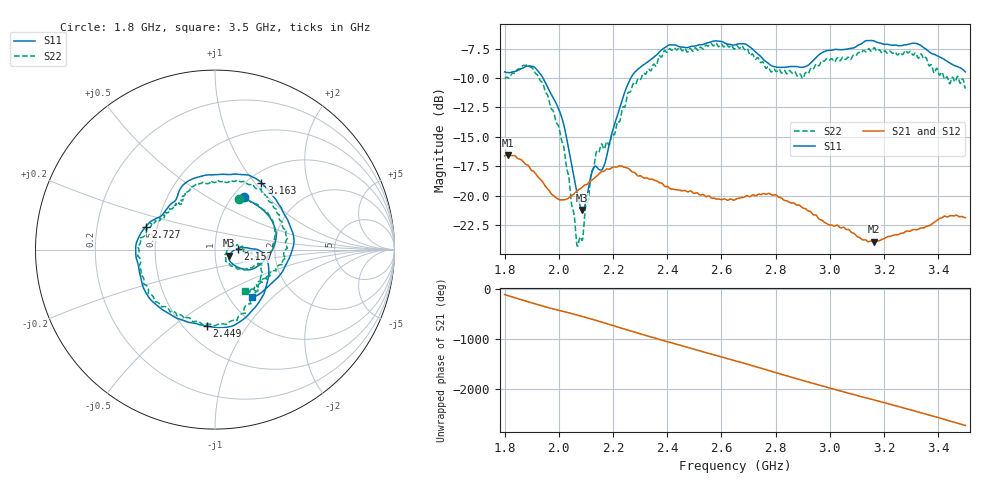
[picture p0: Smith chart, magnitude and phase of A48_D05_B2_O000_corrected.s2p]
! Created with skrf 1.9.0 (http://scikit-rf.org).
# Hz S RI R 50.0
!freq ReS11 ImS11 ReS21 ImS21 ReS12 ImS12 ReS22 ImS22
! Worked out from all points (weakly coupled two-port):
!   1601 points, 1.8 GHz to 3.5 GHz, reference 50 ohm
!   highest |S21| = -16.54 dB at 1.812 GHz (marker M1); lowest = -23.9 dB at 3.162 GHz (marker M2)
!   lowest |S11| = -21.2 dB at 2.087 GHz (marker M3), VSWR 1.19, Z = 58.5 - j4.07 ohm
!   |S11| at or under -10 dB: 1.942 GHz to 2.266 GHz (324.2 MHz wide, 15.4 % of centre)
!   |S22| runs from -24.3 to -7.0 dB; largest |S21 - S12| = 0.0023
!   S11 on the Smith chart (normalised r, x): 1.8 GHz: 1.12, +0.74; 2.157 GHz: 1.29, +0.01; 2.449 GHz: 0.64, -0.67; 2.727 GHz: 0.43, +0.13; 3.163 GHz: 1.15, +1.08; 3.5 GHz: 1.27, -0.76
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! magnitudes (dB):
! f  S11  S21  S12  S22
! 1.8 GHz  -9.5  -16.6  -16.6  -10.1
! 1.812 GHz  -9.5  -16.5  -16.5  -10.0
! 1.882 GHz  -9.0  -17.4  -17.4  -8.9
! 1.941 GHz  -10.0  -18.9  -18.9  -10.5
! 2.011 GHz  -13.4  -20.4  -20.3  -15.4
! 2.066 GHz  -19.6  -19.6  -19.6  -24.0
! 2.084 GHz  -21.2  -19.3  -19.3  -23.7
! 2.087 GHz  -21.2  -19.3  -19.3  -23.8
! 2.124 GHz  -17.9  -18.6  -18.6  -17.8
! 2.157 GHz  -17.8  -18.0  -18.0  -15.6
! 2.261 GHz  -10.2  -17.8  -17.8  -11.2
! 2.367 GHz  -7.9  -18.8  -18.8  -8.3
! 2.449 GHz  -7.4  -19.6  -19.5  -7.5
! 2.65 GHz  -7.2  -20.4  -20.3  -7.5
! 2.727 GHz  -7.8  -20.0  -20.0  -8.4
! 2.804 GHz  -9.1  -20.0  -20.0  -9.5
! 2.934 GHz  -8.6  -21.5  -21.5  -9.2
! 3.162 GHz  -6.8  -23.9  -23.9  -7.4
! 3.163 GHz  -6.9  -23.9  -23.9  -7.4
! 3.217 GHz  -7.2  -23.5  -23.4  -7.8
! 3.324 GHz  -7.1  -22.9  -22.8  -8.3
! 3.5 GHz  -9.5  -21.9  -21.9  -10.9
